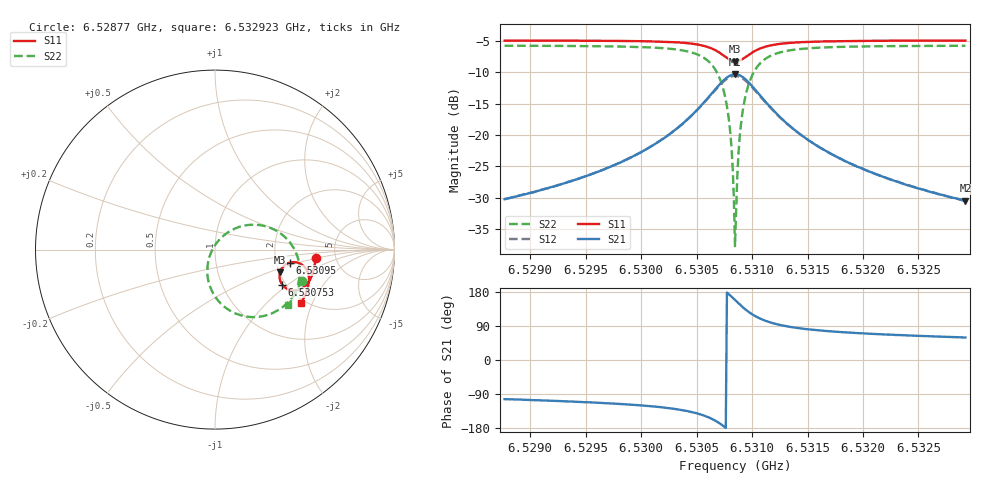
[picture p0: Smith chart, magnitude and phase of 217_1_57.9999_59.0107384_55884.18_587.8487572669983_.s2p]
#  HZ  S  RI  R  50.00
! Rohde & Schwarz Vector Network Analyzer
! Rohde-Schwarz,ZNB20-2Port,1311601062101988,3.16
! Created: UTC 3/21/2024, 12:59:59 AM
! freq[Hz]  re:S11  im:S11  re:S21  im:S21  re:S12  im:S12  re:S22  im:S22
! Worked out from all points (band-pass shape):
!   401 points, 6.52877 GHz to 6.532923 GHz, reference 50 ohm
!   highest |S21| = -10.35 dB at 6.530846 GHz (marker M1); lowest = -30.5 dB at 6.532923 GHz (marker M2)
!   |S21| within 3 dB of the highest: 6.530639 GHz to 6.531055 GHz (416.4 kHz wide, 0.00638 % of centre)
!   lowest |S11| = -8.3 dB at 6.530846 GHz (marker M3), VSWR 2.25, Z = 101 - j30 ohm
!   |S11| at or under -10 dB: nowhere
!   |S22| runs from -37.7 to -5.8 dB; largest |S21 - S12| = 0.012
!   S11 on the Smith chart (normalised r, x): 6.52877 GHz: 3.49, -0.50; 6.530753 GHz: 1.91, -0.91; 6.53095 GHz: 2.37, -0.42; 6.532923 GHz: 1.91, -1.66
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6.5287698e9  0.5603 -0.0489  -0.00713 -0.03  -0.00767 -0.03  0.482 -0.174
6.5294655e9  0.5512 -0.107  -0.0163 -0.0428  -0.0174 -0.0425  0.4506 -0.2377
6.5301611e9  0.5241 -0.1765  -0.0497 -0.0736  -0.0519 -0.0721  0.3686 -0.3266
6.5303999e9  0.4976 -0.207  -0.089 -0.0929  -0.0919 -0.0897  0.2884 -0.3655
6.5305764e9  0.4546 -0.2268  -0.1568 -0.0993  -0.1591 -0.0929  0.1634 -0.3708
6.5306803e9  0.41 -0.2222  -0.2258 -0.0731  -0.225 -0.0636  0.0475 -0.3144
6.5307529e9  0.3749 -0.1955  -0.2764 -0.0151  -0.2708 -0.00513  -0.0272 -0.2074
6.5307945e9  0.3618 -0.168  -0.2922 0.0374  -0.2833 0.0454  -0.043 -0.1177
6.5308152e9  0.3594 -0.1518  -0.2927 0.0671  -0.2827 0.0734  -0.0383 -0.0687
6.5308256e9  0.3594 -0.1434  -0.2908 0.0821  -0.2804 0.0878  -0.0322 -0.0445
6.530836e9  0.3604 -0.135  -0.2874 0.0972  -0.2767 0.1019  -0.0237 -0.0206
6.5308464e9  0.3622 -0.1268  -0.2824 0.1118  -0.2716 0.1155  -0.0129 0.00232
6.5308568e9  0.365 -0.1186  -0.2763 0.126  -0.2652 0.1287  7.07e-05 0.0243
6.5308672e9  0.3687 -0.111  -0.2684 0.1394  -0.2577 0.1412  0.0151 0.0447
6.5308879e9  0.3782 -0.0971  -0.2498 0.1632  -0.2395 0.1632  0.0505 0.08
6.5308983e9  0.3836 -0.0911  -0.2391 0.1735  -0.2292 0.1725  0.07 0.0946
6.5309502e9  0.4163 -0.0725  -0.1793 0.2051  -0.1724 0.2023  0.1741 0.1357
6.5310229e9  0.459 -0.072  -0.1047 0.2075  -0.101 0.2044  0.2991 0.1244
6.5311267e9  0.4962 -0.0936  -0.0404 0.177  -0.0386 0.1752  0.4025 0.057
6.531542e9  0.5236 -0.1728  0.0151 0.0856  0.0162 0.0853  0.4724 -0.1343
6.5322377e9  0.5059 -0.2444  0.0175 0.0409  0.0182 0.0408  0.4432 -0.2495
6.532923e9  0.4804 -0.2961  0.0153 0.0258  0.0158 0.0255  0.4078 -0.3093
